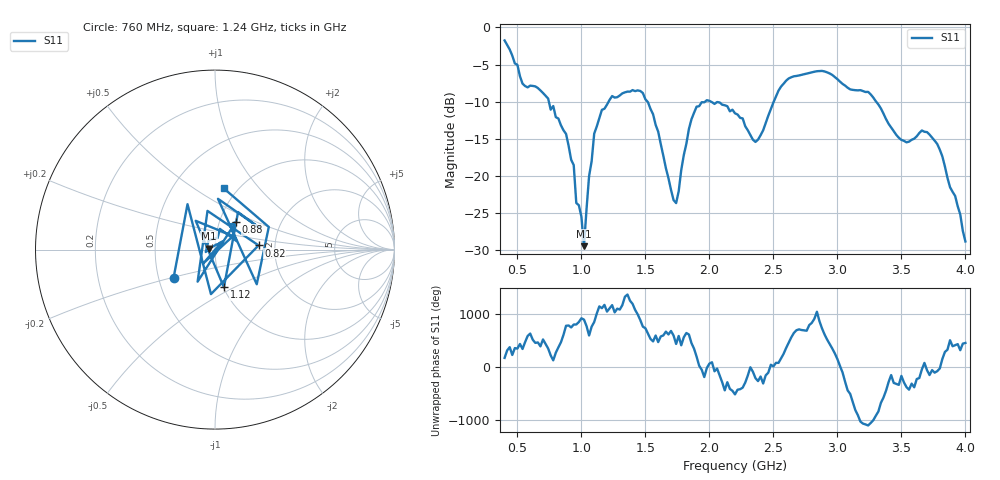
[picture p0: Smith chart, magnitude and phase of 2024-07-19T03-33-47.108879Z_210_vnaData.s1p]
!Created with skrf (http://scikit-rf.org).
# Hz S RI R 50.0
!freq ReS11 ImS11
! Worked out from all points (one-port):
!   181 points, 400 MHz to 4 GHz, reference 50 ohm
!   lowest |S11| = -29.4 dB at 1.02 GHz (marker M1), VSWR 1.07, Z = 46.8 + j0.55 ohm
!   |S11| at or under -10 dB: 745.8 MHz to 1.212 GHz (466.6 MHz wide, 47.7 % of centre); 2.013 GHz to 2.503 GHz (489.4 MHz wide, 21.7 % of centre); 3.303 GHz to end of sweep (the widest 3 of 4)
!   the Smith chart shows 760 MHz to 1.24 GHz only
!   S11 on the Smith chart (normalised r, x): 760 MHz: 0.60, -0.20; 820 MHz: 1.64, +0.08; 880 MHz: 1.19, +0.38; 1.12 GHz: 1.01, -0.44; 1.24 GHz: 0.86, +0.67
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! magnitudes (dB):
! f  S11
! 400 MHz  -1.8
! 540 MHz  -7.6
! 760 MHz  -11.1
! 820 MHz  -12.3
! 860 MHz  -13.8
! 880 MHz  -14.3
! 940 MHz  -18.5
! 960 MHz  -23.6
! 1 GHz  -25.5
! 1.02 GHz  -29.4
! 1.06 GHz  -20.0
! 1.12 GHz  -13.3
! 1.24 GHz  -9.2
! 1.3 GHz  -9.2
! 1.48 GHz  -8.8
! 1.6 GHz  -14.0
! 1.72 GHz  -23.2
! 1.76 GHz  -22.0
! 1.84 GHz  -13.7
! 1.9 GHz  -10.7
! 2.2 GHz  -11.6
! 2.36 GHz  -15.4
! 2.66 GHz  -6.6
! 3.1 GHz  -8.3
! 3.24 GHz  -8.7
! 3.56 GHz  -15.4
! 3.78 GHz  -15.7
! 4 GHz  -28.8
